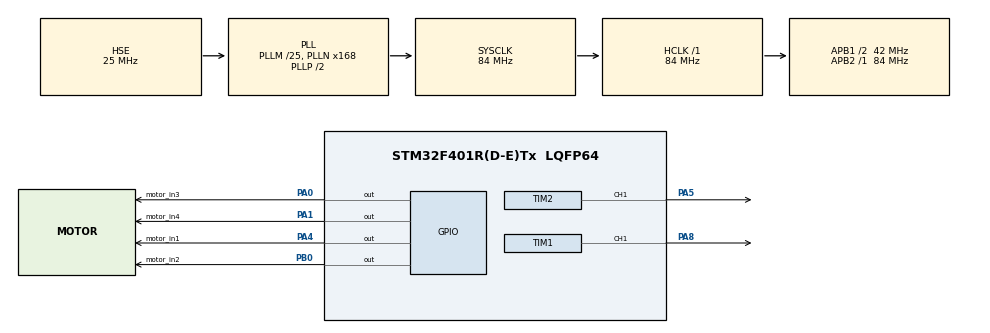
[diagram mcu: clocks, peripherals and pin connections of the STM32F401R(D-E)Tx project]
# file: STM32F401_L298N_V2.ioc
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Mcu.Family=STM32F4
Mcu.Name=STM32F401R(D-E)Tx
Mcu.Package=LQFP64
NVIC.PriorityGroup=NVIC_PRIORITYGROUP_4
PA0-WKUP.GPIO_Label=motor_in3
PA0-WKUP.Signal=GPIO_Output
PA1.GPIO_Label=motor_in4
PA1.Signal=GPIO_Output
PA13.Mode=Serial_Wire
PA13.Signal=SYS_JTMS-SWDIO
PA14.Mode=Serial_Wire
PA14.Signal=SYS_JTCK-SWCLK
PA4.GPIO_Label=motor_in1
PA4.Signal=GPIO_Output
PA5.Signal=S_TIM2_CH1_ETR
PA8.Signal=S_TIM1_CH1
PB0.GPIO_Label=motor_in2
PB0.Signal=GPIO_Output
PH0\ -\ OSC_IN.Mode=HSE-External-Oscillator
PH0\ -\ OSC_IN.Signal=RCC_OSC_IN
PH1\ -\ OSC_OUT.Mode=HSE-External-Oscillator
PH1\ -\ OSC_OUT.Signal=RCC_OSC_OUT
ProjectManager.HeapSize=0x200
ProjectManager.StackSize=0x400
ProjectManager.TargetToolchain=STM32CubeIDE
RCC.48MHZClocksFreq_Value=42000000
RCC.AHBFreq_Value=84000000
RCC.APB1CLKDivider=RCC_HCLK_DIV2
RCC.APB1Freq_Value=42000000
RCC.APB1TimFreq_Value=84000000
RCC.APB2Freq_Value=84000000
RCC.APB2TimFreq_Value=84000000
RCC.CortexFreq_Value=84000000
RCC.HCLKFreq_Value=84000000
RCC.HSE_VALUE=25000000
RCC.HSI_VALUE=16000000
RCC.LSE_VALUE=32768
RCC.PLLM=25
RCC.PLLN=168
RCC.PLLSourceVirtual=RCC_PLLSOURCE_HSE
RCC.SYSCLKFreq_VALUE=84000000
RCC.SYSCLKSource=RCC_SYSCLKSOURCE_PLLCLK
RCC.VCOOutputFreq_Value=168000000
SH.S_TIM1_CH1.0=TIM1_CH1,PWM Generation1 CH1
SH.S_TIM2_CH1_ETR.0=TIM2_CH1,PWM Generation1 CH1
TIM1.Channel-PWM\ Generation1\ CH1=TIM_CHANNEL_1
TIM1.Period=1000
TIM1.Prescaler=84
TIM2.Channel-PWM\ Generation1\ CH1=TIM_CHANNEL_1
TIM2.Period=1000
TIM2.Prescaler=84
VP_TIM1_VS_ClockSourceINT.Mode=Internal
VP_TIM2_VS_ClockSourceINT.Mode=Internal
board=custom

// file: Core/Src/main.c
/* USER CODE BEGIN Header */
/**
  ******************************************************************************
  * @file           : main.c
  * @brief          : Main program body
  ******************************************************************************
  * @attention
  *
  * Copyright (c) 2023 STMicroelectronics.
  * All rights reserved.
  *
  * This software is licensed under terms that can be found in the LICENSE file
  * in the root directory of this software component.
  * If no LICENSE file comes with this software, it is provided AS-IS.
  *
  ******************************************************************************
  */
/* USER CODE END Header */
#include "main.h"

TIM_HandleTypeDef htim1;
TIM_HandleTypeDef htim2;

void SystemClock_Config(void);
static void MX_GPIO_Init(void);
static void MX_TIM1_Init(void);
static void MX_TIM2_Init(void);

int main(void)
{

  /* MCU Configuration--------------------------------------------------------*/

  /* Reset of all peripherals, Initializes the Flash interface and the Systick. */
  HAL_Init();

  /* Configure the system clock */
  SystemClock_Config();

  /* Initialize all configured peripherals */
  MX_GPIO_Init();
  MX_TIM1_Init();
  MX_TIM2_Init();
  /* USER CODE BEGIN 2 */

  HAL_TIM_PWM_Start(&htim1, TIM_CHANNEL_1);
  HAL_TIM_PWM_Start(&htim2, TIM_CHANNEL_1);

  /* USER CODE END 2 */

  /* Infinite loop */
  /* USER CODE BEGIN WHILE */
  while (1)
  {

	  HAL_GPIO_WritePin(GPIOA, motor_in3_Pin, GPIO_PIN_RESET);
	  HAL_GPIO_WritePin(GPIOA, motor_in3_Pin, GPIO_PIN_SET);
	  HAL_GPIO_WritePin(GPIOA, motor_in1_Pin, GPIO_PIN_RESET);
	  HAL_GPIO_WritePin(GPIOB, motor_in2_Pin, GPIO_PIN_SET);
	  TIM1->CCR1=2000;
	  TIM2->CCR1=2000;
	  HAL_Delay(9000);

	  HAL_GPIO_WritePin(GPIOA, motor_in3_Pin, GPIO_PIN_RESET);
	  HAL_GPIO_WritePin(GPIOA, motor_in3_Pin, GPIO_PIN_SET);
	  HAL_GPIO_WritePin(GPIOA, motor_in1_Pin, GPIO_PIN_RESET);
 	  HAL_GPIO_WritePin(GPIOB, motor_in2_Pin, GPIO_PIN_SET);
	  TIM1->CCR1=700;
	  TIM2->CCR1=700;
	  HAL_Delay(6000);

	  HAL_GPIO_WritePin(GPIOA, motor_in3_Pin, GPIO_PIN_RESET);
	  HAL_GPIO_WritePin(GPIOA, motor_in3_Pin, GPIO_PIN_SET);
	  HAL_GPIO_WritePin(GPIOA, motor_in1_Pin, GPIO_PIN_RESET);
	  HAL_GPIO_WritePin(GPIOB, motor_in2_Pin, GPIO_PIN_SET);
	  TIM1->CCR1=700;
	  TIM2->CCR1=700;
	  HAL_Delay(6000);

	  HAL_GPIO_WritePin(GPIOA, motor_in3_Pin, GPIO_PIN_RESET);
	  HAL_GPIO_WritePin(GPIOA, motor_in3_Pin, GPIO_PIN_SET);
	  HAL_GPIO_WritePin(GPIOA, motor_in1_Pin, GPIO_PIN_RESET);
	  HAL_GPIO_WritePin(GPIOB, motor_in2_Pin, GPIO_PIN_SET);
	  TIM1->CCR1=800;
	  TIM2->CCR1=800;
	  HAL_Delay(6000);

	  HAL_GPIO_WritePin(GPIOA, motor_in3_Pin, GPIO_PIN_RESET);
	  HAL_GPIO_WritePin(GPIOA, motor_in3_Pin, GPIO_PIN_SET);
	  HAL_GPIO_WritePin(GPIOA, motor_in1_Pin, GPIO_PIN_RESET);
	  HAL_GPIO_WritePin(GPIOB, motor_in2_Pin, GPIO_PIN_SET);
	  TIM1->CCR1=900;
	  TIM2->CCR1=900;
	  HAL_Delay(6000);

	  HAL_GPIO_WritePin(GPIOA, motor_in3_Pin, GPIO_PIN_RESET);
	  HAL_GPIO_WritePin(GPIOA, motor_in3_Pin, GPIO_PIN_RESET);
	  HAL_GPIO_WritePin(GPIOA, motor_in1_Pin, GPIO_PIN_RESET);
	  HAL_GPIO_WritePin(GPIOB, motor_in2_Pin, GPIO_PIN_RESET);
	  TIM1->CCR1=0;
	  TIM2->CCR1=0;

	  HAL_Delay(300);

    /* USER CODE END WHILE */

  }
}

void SystemClock_Config(void)
{
  RCC_OscInitTypeDef RCC_OscInitStruct = {0};
  RCC_ClkInitTypeDef RCC_ClkInitStruct = {0};

  /** Configure the main internal regulator output voltage
  */
  __HAL_RCC_PWR_CLK_ENABLE();
  __HAL_PWR_VOLTAGESCALING_CONFIG(PWR_REGULATOR_VOLTAGE_SCALE2);

  /** Initializes the RCC Oscillators according to the specified parameters
  * in the RCC_OscInitTypeDef structure.
  */
  RCC_OscInitStruct.OscillatorType = RCC_OSCILLATORTYPE_HSE;
  RCC_OscInitStruct.HSEState = RCC_HSE_ON;
  RCC_OscInitStruct.PLL.PLLState = RCC_PLL_ON;
  RCC_OscInitStruct.PLL.PLLSource = RCC_PLLSOURCE_HSE;
  RCC_OscInitStruct.PLL.PLLM = 25;
  RCC_OscInitStruct.PLL.PLLN = 168;
  RCC_OscInitStruct.PLL.PLLP = RCC_PLLP_DIV2;
  RCC_OscInitStruct.PLL.PLLQ = 4;
  if (HAL_RCC_OscConfig(&RCC_OscInitStruct) != HAL_OK)
  {
    Error_Handler();
  }

  /** Initializes the CPU, AHB and APB buses clocks
  */
  RCC_ClkInitStruct.ClockType = RCC_CLOCKTYPE_HCLK|RCC_CLOCKTYPE_SYSCLK
                              |RCC_CLOCKTYPE_PCLK1|RCC_CLOCKTYPE_PCLK2;
  RCC_ClkInitStruct.SYSCLKSource = RCC_SYSCLKSOURCE_PLLCLK;
  RCC_ClkInitStruct.AHBCLKDivider = RCC_SYSCLK_DIV1;
  RCC_ClkInitStruct.APB1CLKDivider = RCC_HCLK_DIV2;
  RCC_ClkInitStruct.APB2CLKDivider = RCC_HCLK_DIV1;

  if (HAL_RCC_ClockConfig(&RCC_ClkInitStruct, FLASH_LATENCY_2) != HAL_OK)
  {
    Error_Handler();
  }
}

static void MX_TIM1_Init(void)
{

  TIM_ClockConfigTypeDef sClockSourceConfig = {0};
  TIM_MasterConfigTypeDef sMasterConfig = {0};
  TIM_OC_InitTypeDef sConfigOC = {0};
  TIM_BreakDeadTimeConfigTypeDef sBreakDeadTimeConfig = {0};

  htim1.Instance = TIM1;
  htim1.Init.Prescaler = 84;
  htim1.Init.CounterMode = TIM_COUNTERMODE_UP;
  htim1.Init.Period = 1000;
  htim1.Init.ClockDivision = TIM_CLOCKDIVISION_DIV1;
  htim1.Init.RepetitionCounter = 0;
  htim1.Init.AutoReloadPreload = TIM_AUTORELOAD_PRELOAD_DISABLE;
  if (HAL_TIM_Base_Init(&htim1) != HAL_OK)
  {
    Error_Handler();
  }
  sClockSourceConfig.ClockSource = TIM_CLOCKSOURCE_INTERNAL;
  if (HAL_TIM_ConfigClockSource(&htim1, &sClockSourceConfig) != HAL_OK)
  {
    Error_Handler();
  }
  if (HAL_TIM_PWM_Init(&htim1) != HAL_OK)
  {
    Error_Handler();
  }
  sMasterConfig.MasterOutputTrigger = TIM_TRGO_RESET;
  sMasterConfig.MasterSlaveMode = TIM_MASTERSLAVEMODE_DISABLE;
  if (HAL_TIMEx_MasterConfigSynchronization(&htim1, &sMasterConfig) != HAL_OK)
  {
    Error_Handler();
  }
  sConfigOC.OCMode = TIM_OCMODE_PWM1;
  sConfigOC.Pulse = 0;
  sConfigOC.OCPolarity = TIM_OCPOLARITY_HIGH;
  sConfigOC.OCNPolarity = TIM_OCNPOLARITY_HIGH;
  sConfigOC.OCFastMode = TIM_OCFAST_DISABLE;
  sConfigOC.OCIdleState = TIM_OCIDLESTATE_RESET;
  sConfigOC.OCNIdleState = TIM_OCNIDLESTATE_RESET;
  if (HAL_TIM_PWM_ConfigChannel(&htim1, &sConfigOC, TIM_CHANNEL_1) != HAL_OK)
  {
    Error_Handler();
  }
  sBreakDeadTimeConfig.OffStateRunMode = TIM_OSSR_DISABLE;
  sBreakDeadTimeConfig.OffStateIDLEMode = TIM_OSSI_DISABLE;
  sBreakDeadTimeConfig.LockLevel = TIM_LOCKLEVEL_OFF;
  sBreakDeadTimeConfig.DeadTime = 0;
  sBreakDeadTimeConfig.BreakState = TIM_BREAK_DISABLE;
  sBreakDeadTimeConfig.BreakPolarity = TIM_BREAKPOLARITY_HIGH;
  sBreakDeadTimeConfig.AutomaticOutput = TIM_AUTOMATICOUTPUT_DISABLE;
  if (HAL_TIMEx_ConfigBreakDeadTime(&htim1, &sBreakDeadTimeConfig) != HAL_OK)
  {
    Error_Handler();
  }
  HAL_TIM_MspPostInit(&htim1);

}

static void MX_TIM2_Init(void)
{

  TIM_ClockConfigTypeDef sClockSourceConfig = {0};
  TIM_MasterConfigTypeDef sMasterConfig = {0};
  TIM_OC_InitTypeDef sConfigOC = {0};

  htim2.Instance = TIM2;
  htim2.Init.Prescaler = 84;
  htim2.Init.CounterMode = TIM_COUNTERMODE_UP;
  htim2.Init.Period = 1000;
  htim2.Init.ClockDivision = TIM_CLOCKDIVISION_DIV1;
  htim2.Init.AutoReloadPreload = TIM_AUTORELOAD_PRELOAD_DISABLE;
  if (HAL_TIM_Base_Init(&htim2) != HAL_OK)
  {
    Error_Handler();
  }
  sClockSourceConfig.ClockSource = TIM_CLOCKSOURCE_INTERNAL;
  if (HAL_TIM_ConfigClockSource(&htim2, &sClockSourceConfig) != HAL_OK)
  {
    Error_Handler();
  }
  if (HAL_TIM_PWM_Init(&htim2) != HAL_OK)
  {
    Error_Handler();
  }
  sMasterConfig.MasterOutputTrigger = TIM_TRGO_RESET;
  sMasterConfig.MasterSlaveMode = TIM_MASTERSLAVEMODE_DISABLE;
  if (HAL_TIMEx_MasterConfigSynchronization(&htim2, &sMasterConfig) != HAL_OK)
  {
    Error_Handler();
  }
  sConfigOC.OCMode = TIM_OCMODE_PWM1;
  sConfigOC.Pulse = 0;
  sConfigOC.OCPolarity = TIM_OCPOLARITY_HIGH;
  sConfigOC.OCFastMode = TIM_OCFAST_DISABLE;
  if (HAL_TIM_PWM_ConfigChannel(&htim2, &sConfigOC, TIM_CHANNEL_1) != HAL_OK)
  {
    Error_Handler();
  }
  HAL_TIM_MspPostInit(&htim2);

}

static void MX_GPIO_Init(void)
{
  GPIO_InitTypeDef GPIO_InitStruct = {0};

  /* GPIO Ports Clock Enable */
  __HAL_RCC_GPIOH_CLK_ENABLE();
  __HAL_RCC_GPIOA_CLK_ENABLE();
  __HAL_RCC_GPIOB_CLK_ENABLE();

  /*Configure GPIO pin Output Level */
  HAL_GPIO_WritePin(GPIOA, motor_in3_Pin|motor_in4_Pin|motor_in1_Pin, GPIO_PIN_RESET);

  /*Configure GPIO pin Output Level */
  HAL_GPIO_WritePin(motor_in2_GPIO_Port, motor_in2_Pin, GPIO_PIN_RESET);

  /*Configure GPIO pins : motor_in3_Pin motor_in4_Pin motor_in1_Pin */
  GPIO_InitStruct.Pin = motor_in3_Pin|motor_in4_Pin|motor_in1_Pin;
  GPIO_InitStruct.Mode = GPIO_MODE_OUTPUT_PP;
  GPIO_InitStruct.Pull = GPIO_NOPULL;
  GPIO_InitStruct.Speed = GPIO_SPEED_FREQ_LOW;
  HAL_GPIO_Init(GPIOA, &GPIO_InitStruct);

  /*Configure GPIO pin : motor_in2_Pin */
  GPIO_InitStruct.Pin = motor_in2_Pin;
  GPIO_InitStruct.Mode = GPIO_MODE_OUTPUT_PP;
  GPIO_InitStruct.Pull = GPIO_NOPULL;
  GPIO_InitStruct.Speed = GPIO_SPEED_FREQ_LOW;
  HAL_GPIO_Init(motor_in2_GPIO_Port, &GPIO_InitStruct);

}

void Error_Handler(void)
{
  __disable_irq();
  while (1)
  {
  }
}
